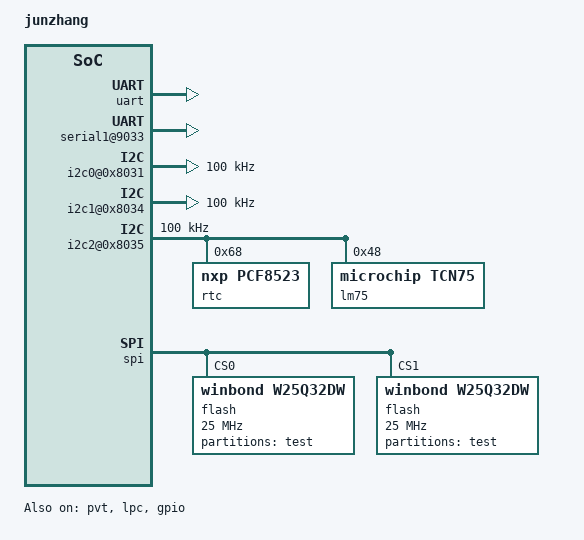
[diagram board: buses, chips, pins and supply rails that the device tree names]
// SPDX-License-Identifier: GPL-2.0
/*
 * Default device tree;
 */

/dts-v1/;
/ {
	compatible = "sunway,junzhang";
	model = "junzhang";
	#address-cells = <2>;
	#size-cells = <2>;

	chosen {
	};

	soc {
		compatible = "simple-bus";
		#address-cells = <2>;
		#size-cells = <2>;
		ranges;

		clocks {
			i2cclk: i2cclk {
				compatible = "fixed-clock";
				clock-frequency = <12000000>;
				#clock-cells = <0>;
				clock-output-names = "i2cclk_12mhz";
			};
			spiclk: spiclk {
				compatible = "fixed-clock";
				clock-frequency = <12000000>;
				#clock-cells = <0>;
				clock-output-names = "spiclk_12mhz";
			};
		};

		pintc: interrupt-controller {
			compatible = "sw64,pintc";
			interrupt-controller;
			sw64,node = <0>;
			sw64,irq-num = <8>;
			sw64,ver = <2>;
			reg = <0x803a 0x0 0x0 0x1900>,
			      <0x8030 0x0 0x0 0xe000>;
			#interrupt-cells = <1>;
		};

		lpc_intc: interrupt-controller@0x8037 {
			compatible = "sw64,lpc_intc";
			reg = <0x8037 0x40000000 0x0 0x8000>;
			interrupt-controller;
			sw64,node = <0>;
			sw64,irq-num = <16>;
			sw64,ver = <1>;
			#interrupt-cells = <1>;
			interrupt-parent = <&pintc>;
			interrupts = <2>;
		};

		uart: serial0@8033 {
			#address-cells = <2>;
			#size-cells = <2>;
			compatible = "sw6,sunway-apb-uart";
			reg = <0x8033 0x0 0x0 0x1000>;
			interrupt-parent=<&pintc>;
			interrupts = <3>;
			reg-shift = <9>;
			reg-io-width = <4>;
			clock-frequency = <24000000>;
			status = "okay";
		};

		serial1@9033 {
			#address-cells = <2>;
			#size-cells = <2>;
			compatible = "sw6,sunway-apb-uart";
			reg = <0x9033 0x0 0x0 0x1000>;
			reg-shift = <9>;
			reg-io-width = <4>;
			clock-frequency = <24000000>;
			status = "okay";
		};


		i2c0@0x8031 {
			#address-cells = <2>;
			#size-cells = <2>;
			compatible = "snps,designware-i2c";
			reg = <0x8031 0x0 0x0 0x8000>;
			clock-frequency = <100000>;
			clocks = <&i2cclk>;
			interrupt-parent=<&pintc>;
			interrupts = <5>;
			status = "okay";
		};

		i2c1@0x8034 {
			#address-cells = <1>;
			#size-cells = <0>;
			compatible = "snps,designware-i2c";
			reg = <0x8034 0x0 0x0 0x8000>;
			clock-frequency = <100000>;
			clocks = <&i2cclk>;
			interrupt-parent=<&pintc>;
			interrupts = <6>;
			status = "okay";
		};

		i2c2@0x8035 {
			#address-cells = <1>;
			#size-cells = <0>;
			compatible = "snps,designware-i2c";
			reg = <0x8035 0x0 0x0 0x8000>;
			clock-frequency = <100000>;
			clocks = <&i2cclk>;
			interrupt-parent=<&pintc>;
			interrupts = <7>;
			status = "okay";

			rtc: pcf8523@68 {
				compatible = "nxp,pcf8523";
				reg = <0x68>;
			};

			lm75: at30tse752a@48 {
				compatible = "microchip,tcn75";
				reg = <0x48>;
			};
		};

		pvt: pvt@0x8030 {
			#address-cells = <2>;
			#size-cells = <2>;
			compatible = "sw64,pvt-vol";
			reg = <0x8030 0x0 0x0 0x7c00>;
			status = "okay";
		};

		spi: spi@0x8032 {
			#address-cells = <1>;
			#size-cells = <0>;
			compatible = "sunway,chip-spi";
			reg = <0x8032 0x0 0x0 0x8000>;
			clocks = <&spiclk>;
			poll_mode = <1>;    /* poll_mode:1  interrupt mode: 0 */
			reg-io-width = <2>;
			status = "okay";

			flash@0 {
				compatible = "winbond,w25q32dw", "jedec,spi-nor";
				spi-max-frequency = <25000000>;
				m25p,fast-read;
				reg = <0>; /* 0: flash chip selected bit */

				partitions {
					compatible = "fixed-partitions";
					#address-cells = <1>;
					#size-cells = <1>;

					partition@0 {
						label = "test";
						reg = <0 0x800000>;
					};
				};
			};

			flash@1 {
				compatible = "winbond,w25q32dw", "jedec,spi-nor";
				spi-max-frequency = <25000000>;
				m25p,fast-read;
				reg = <1>; /* 1: flash chip selected bit */

				partitions {
					compatible = "fixed-partitions";
					#address-cells = <1>;
					#size-cells = <1>;

					partition@0 {
						label = "test";
						reg = <0 0x800000>;
					};
				};
			};
		};

		lpc: lpc@0x8037 {
			#address-cells = <2>;
			#size-cells = <2>;
			compatible = "sunway,chip3_lpc";
			ranges;
			reg = <0x8037 0x40000000 0x0 0x8000>;
			status = "okay";
		};

		ipmi-kcs@0x8037 {
			#address-cells = <2>;
			#size-cells = <2>;
			device_type = "ipmi";
			compatible = "ipmi-kcs";
			reg = <0x8037 0x20ca2000 0x0 0x10>;
			reg-size = <1>;
			reg-spacing = <4096>;
			reg-shift = <0>;
			status = "disabled";
		};

		ipmi-bt@0x8037 {
			#address-cells = <2>;
			#size-cells = <2>;
			device_type = "ipmi";
			compatible = "ipmi-bt";
			reg = <0x8037 0x200e4000 0x0 0x10>;
			reg-size = <1>;
			reg-spacing = <4096>;
			reg-shift = <0>;
			status = "disabled";
		};

		suart1: suart1@0x3f8 {
			#address-cells = <2>;
			#size-cells = <2>;
			compatible = "ns16550a";
			clock-frequency = <1843200>;
			reg = <0x8037 0x203f8000 0x0 0x10>;
			reg-shift = <12>;
			reg-io-width = <1>;
			status = "disabled";
		};

		gpio: gpio@8036 {
			#address-cells = <2>;
			#size-cells = <2>;
			compatible = "snps,sw-gpio";
			reg = <0x8036 0x0 0x0 0x8000>;
			status = "okay";

			porta: gpio-controller@0 {
				compatible = "snps,dw-apb-gpio-port";
				gpio-controller;
				#gpio-cells = <2>;
				snps,nr-gpios = <8>;
				reg = <0 0 0 0>;
				interrupt-controller;
				#interrupt-cells = <2>;
				interrupts-extended = <&pintc 0>, <&pintc 1>;
			};
		};
	};
};
